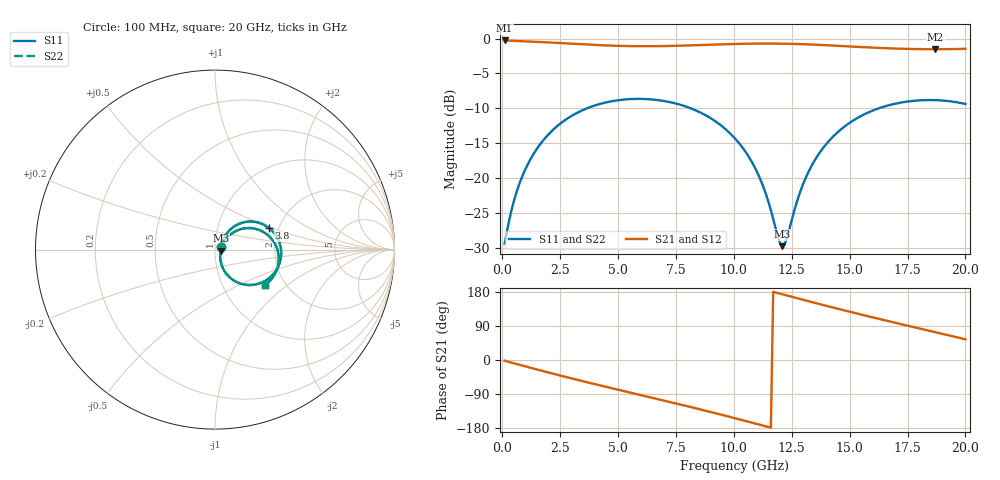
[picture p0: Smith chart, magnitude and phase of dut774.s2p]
! Touchstone file exported from HFSS 2026.1.0
!  File:  C:/ffzhzh/LocalFiles/Ansys_Project_Files/temp_train_TSV_RDL_774_1783209581_51560.aedt
!  Generated:  08:12:21 AM Jul  5, 2026
!  Design:  TSV_RDL
!  Project:  temp_train_TSV_RDL_774_1783209581_51560
! Variables:
!  h_bsmrdl = 5.42um
!  h_ox = 20um
!  h_rdl = 5um
!  h_sub = 65.11um
!  h_tmrdl = 3.38um
!  h_tsv = 65.11um
!  h_via = 3um
!  l_bsmrdl = 846.99um
!  l_sub = 5397.49um
!  l_tmrdl = 590.16um
!  m_sub = 200um
!  pitch = 26.36um
!  r_tsv = 3.02um
!  s_tmrdl = 10um
!  w_bsmrdl = 12.7um
!  w_sub = 500um
!  w_tmrdl = 19.26um
!  x_tsv_center1 = 599.79um
!  x_tsv_center2 = 1459.48um
!  x_tsv_center3 = 2068.9um
!  x_tsv_center4 = 2928.59um
!  x_tsv_center5 = 3538.01um
!  x_tsv_center6 = 4397.7um
# GHz S MA R 50.000000
! Terminal data exported
! Port[1] = TM_RDL1_1_T1
! Port[2] = TM_RDL5_1_T1
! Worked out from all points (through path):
!   200 points, 100 MHz to 20 GHz, reference 50 ohm
!   highest |S21| = -0.28 dB at 100 MHz (marker M1); lowest = -1.5 dB at 18.7 GHz (marker M2)
!   group delay of S21, straight-line fit = 42.5 ps
!   lowest |S11| = -29.7 dB at 12.1 GHz (marker M3), VSWR 1.07, Z = 53.3 - j0.732 ohm
!   |S11| at or under -10 dB: start of sweep to 3.653 GHz; 8.146 GHz to 16.26 GHz (8.11 GHz wide, 66.5 % of centre)
!   |S22| runs from -29.6 to -8.6 dB; largest |S21 - S12| = 5.8e-14
!   S11 on the Smith chart (normalised r, x): 100 MHz: 1.07, +0.03; 3.8 GHz: 1.77, +0.48; 20 GHz: 1.58, -0.70
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0.1  0.03405 20.9  0.9685 -1.8  0.9685 -1.8  0.03405 20.9
! Gamma 0 0 0 0
! Port Impedance 50 0 50 0
0.6  0.07804 51.5  0.9607 -10.3  0.9607 -10.3  0.07804 51.5
1.3  0.1445 52.4  0.9505 -21.8  0.9505 -21.8  0.1445 52.4
2.3  0.2306 42.0  0.9317 -37.9  0.9317 -37.9  0.2306 42.0
3.5  0.3086 26.2  0.9076 -56.3  0.9076 -56.3  0.3086 26.2
3.8  0.3232 22.2  0.9023 -60.8  0.9023 -60.8  0.3231 22.2
5.3  0.3662 2.0  0.8839 -82.7  0.8839 -82.7  0.3661 2.0
6.8  0.3609 -18.0  0.8823 -104.4  0.8823 -104.4  0.3609 -18.0
8.4  0.3037 -39.3  0.8957 -128.0  0.8957 -128.0  0.3036 -39.3
10.1  0.1885 -60.5  0.9144 -154.4  0.9144 -154.4  0.1885 -60.4
11.1  0.1021 -67.1  0.9202 -170.4  0.9202 -170.4  0.1022 -66.9
11.5  0.06718 -62.9  0.9205 -176.9  0.9205 -176.9  0.06731 -62.5
11.9  0.03826 -39.6  0.9196 176.6  0.9196 176.6  0.03856 -39.2
12.1  0.03262 -12.1  0.9186 173.3  0.9186 173.3  0.03301 -12.0
12.3  0.03766 15.8  0.9173 170.1  0.9173 170.1  0.03804 15.6
12.9  0.08285 43.4  0.9115 160.4  0.9115 160.4  0.08306 43.2
13.4  0.1262 44.0  0.9049 152.3  0.9049 152.3  0.1264 43.9
14  0.1763 39.4  0.8953 142.9  0.8953 142.9  0.1764 39.3
14.8  0.2358 30.5  0.8811 130.5  0.8811 130.5  0.2359 30.4
16.7  0.333 6.5  0.8506 102.2  0.8506 102.2  0.3331 6.6
18.7  0.3622 -18.9  0.8382 73.5  0.8382 73.5  0.3623 -18.8
20  0.3399 -35.3  0.8435 54.7  0.8435 54.7  0.34 -35.2
